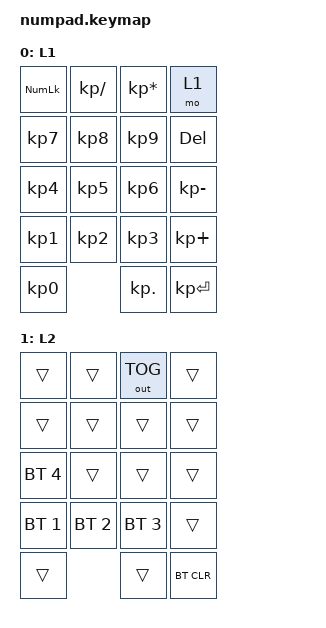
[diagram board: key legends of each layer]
// numpad.keymap
#include <behaviors.dtsi>
#include <dt-bindings/zmk/keys.h>
#include <dt-bindings/zmk/bt.h>
#include <dt-bindings/zmk/outputs.h>
#include <dt-bindings/zmk/mouse.h>


#define L1 0
#define L2 1

#define HAS_MOUSE_KEYS
#define HAS_MOUSE_TP

#ifdef HAS_MOUSE_KEYS
  #include <dt-bindings/zmk/mouse.h>
  #include <behaviors/mouse_keys.dtsi>
#endif  // HAS_MOUSE_KEYS

#ifdef HAS_MOUSE_TP
  // We store the trackpoint settings in a separate file
  // to make organization a little easier.
  #include "trackmount.dtsi"
#endif  // HAS_MOUSE_TP


/ {
    keymap0: keymap {
        compatible = "zmk,keymap";
        
        default_layer {
            label = "L1";
            bindings = <
                &kp KP_NUM &kp KP_DIVIDE &kp KP_MULTIPLY &mo 1
                &kp KP_N7  &kp KP_N8  &kp KP_N9   &kp DEL
                &kp KP_N4  &kp KP_N5  &kp KP_N6   &kp KP_MINUS
                &kp KP_N1  &kp KP_N2  &kp KP_N3   &kp KP_PLUS
                &kp KP_N0             &kp KP_DOT  &kp KP_ENTER
            >;
        };
        fn_layer {
            label = "L2";
            bindings = <
                &trans &trans &out OUT_TOG &trans
                &trans &trans &trans &trans
                &bt BT_SEL 4 &trans &trans &trans                       //&mmv MOVE_LEFT &mmv MOVE_UP &mmv MOVE_DOWN &mmv MOVE_RIGHT
                &bt BT_SEL 1 &bt BT_SEL 2 &bt BT_SEL 3 &trans
                &trans        &trans &bt BT_CLR
            >;

        };
    };
};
